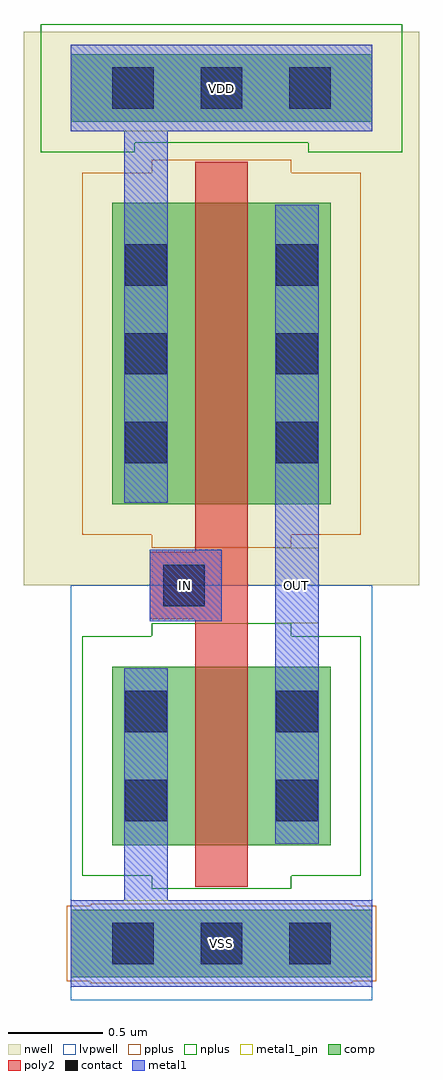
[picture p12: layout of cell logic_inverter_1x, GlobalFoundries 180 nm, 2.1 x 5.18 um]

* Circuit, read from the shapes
.subckt logic_inverter_1x IN OUT VDD VSS
XM1 OUT IN VSS VSS nfet_03v3 w=0.95u l=0.28u
XM2 OUT IN VDD VDD pfet_03v3 w=1.6u l=0.28u
.ends

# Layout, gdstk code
import gdstk
lib = gdstk.Library(unit=1e-6, precision=1e-09)
def R(c, l, rs):  # rectangles x0, y0, x1, y1
    for r in rs: c.add(gdstk.rectangle(r[:2], r[2:], *l))
def A(c, l, x, y, w, h, nx, ny, dx, dy):  # array of equal rectangles
    R(c, l, [(x+i*dx, y+j*dy, x+i*dx+w, y+j*dy+h) for i in range(nx) for j in range(ny)])
nwell = (21, 0)
comp = (22, 0)
poly2 = (30, 0)
pplus = (31, 0)
nplus = (32, 0)
contact = (33, 0)
metal1 = (34, 0)
metal1_pin = (34, 10)
lvpwell = (204, 0)

logic_inverter_1x = lib.new_cell('logic_inverter_1x')
R(logic_inverter_1x, nwell, [(-0.25,2.13,1.85,5.07)])
R(logic_inverter_1x, comp, [(0,0.05,1.6,0.41), (0.22,0.75,1.38,1.7), (0.22,2.56,1.38,4.16), (0,4.59,1.6,4.95)])
R(logic_inverter_1x, poly2, [(0.66,0.53,0.94,1.95), (0.42,1.95,0.94,2.31), (0.66,2.31,0.94,4.38)])
R(logic_inverter_1x, pplus, [(0.105,0.02,1.495,0.03), (-0.02,0.03,1.62,0.43), (0.105,0.43,1.495,0.44), (0.43,2.33,1.17,2.4), (0.06,2.4,1.54,4.32), (0.43,4.32,1.17,4.39)])
R(logic_inverter_1x, nplus, [(0.43,0.52,1.17,0.59), (0.06,0.59,1.54,1.86), (0.43,1.86,1.17,1.93), (-0.16,4.43,0.34,4.48), (1.26,4.43,1.76,4.48), (-0.16,4.48,1.76,5.11)])
A(logic_inverter_1x, contact, 0.22, 0.12, 0.22, 0.22, 3, 2, 0.47, 4.54)
A(logic_inverter_1x, contact, 0.29, 2.78, 0.22, 0.22, 1, 3, 0, 0.47)
A(logic_inverter_1x, contact, 1.09, 2.78, 0.22, 0.22, 1, 3, 0, 0.47)
R(logic_inverter_1x, contact, [(0.29,0.88,0.51,1.1), (1.09,0.88,1.31,1.1), (0.29,1.35,0.51,1.57), (1.09,1.35,1.31,1.57), (0.49,2.02,0.71,2.24)])
R(logic_inverter_1x, metal1, [(0,0,1.6,0.46), (0.285,0.46,0.515,1.69), (1.085,0.76,1.315,4.15), (0.42,1.94,0.8,2.32), (0.285,2.57,0.515,4.54), (0,4.54,1.6,5)])
R(logic_inverter_1x, metal1_pin, [(0,0,1.6,0.46), (1.085,1.93,1.315,2.33), (0.42,1.94,0.8,2.32), (0,4.54,1.6,5)])
R(logic_inverter_1x, lvpwell, [(0,-0.07,1.6,2.13)])
logic_inverter_1x.add(gdstk.Label('VSS', (0.8,0.23), layer=34, texttype=10))
logic_inverter_1x.add(gdstk.Label('VDD', (0.8,4.77), layer=34, texttype=10))
logic_inverter_1x.add(gdstk.Label('OUT', (1.2,2.13), layer=34, texttype=10))
logic_inverter_1x.add(gdstk.Label('IN', (0.61,2.13), layer=34, texttype=10))

lib.write_gds('logic_inverter_1x.gds')
